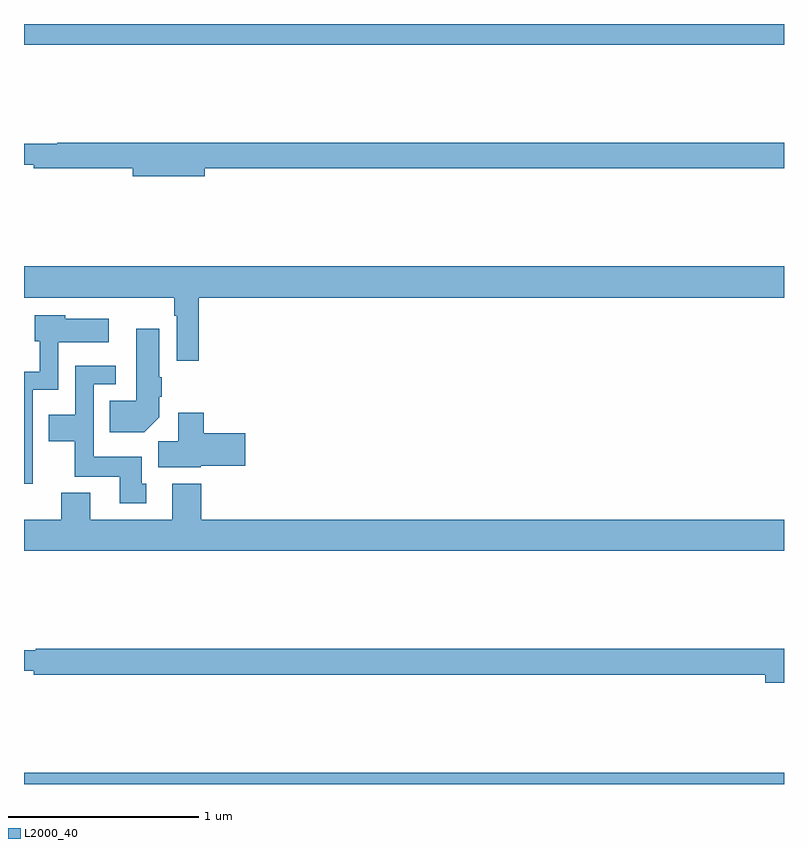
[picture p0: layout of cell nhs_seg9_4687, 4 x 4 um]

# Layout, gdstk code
import gdstk
lib = gdstk.Library(unit=1e-6, precision=1e-09)
def R(c, l, rs):  # rectangles x0, y0, x1, y1
    for r in rs: c.add(gdstk.rectangle(r[:2], r[2:], *l))
def P(c, l, *ps):  # polygons
    for p in ps: c.add(gdstk.Polygon(p, *l))
L2000_40 = (2000, 40)

nhs_seg9_4687 = lib.new_cell('nhs_seg9_4687')
R(nhs_seg9_4687, L2000_40, [(381,1220.5,385,1220.56), (381,1224.392,385,1224.5)])
P(nhs_seg9_4687, L2000_40, [(381.952,1223.74),(385,1223.74),(385,1223.876),(381.176,1223.876),(381.176,1223.869),(381,1223.869),(381,1223.759),(381.052,1223.759),(381.052,1223.74),(381.572,1223.74),(381.572,1223.698),(381.952,1223.698)],
  [(381.92,1223.06),(385,1223.06),(385,1223.224),(381,1223.224),(381,1223.06),(381.792,1223.06),(381.792,1222.964),(381.804,1222.964),(381.804,1222.728),(381.92,1222.728)],
  [(381.046,1222.574),(381.18,1222.574),(381.18,1222.826),(381.445,1222.826),(381.445,1222.948),(381.216,1222.948),(381.216,1222.966),(381.056,1222.966),(381.056,1222.83),(381.084,1222.83),(381.084,1222.671),(381,1222.671),(381,1222.08),(381.046,1222.08)],
  [(381.712,1222.43),(381.712,1222.537),(381.725,1222.537),(381.725,1222.64),(381.712,1222.64),(381.712,1222.897),(381.59,1222.897),(381.59,1222.516),(381.451,1222.516),(381.451,1222.352),(381.634,1222.352)],
  [(381.643,1222.08),(381.619,1222.08),(381.619,1222.222),(381.366,1222.222),(381.366,1222.605),(381.484,1222.605),(381.484,1222.701),(381.27,1222.701),(381.27,1222.444),(381.131,1222.444),(381.131,1222.304),(381.268,1222.304),(381.268,1222.118),(381.503,1222.118),(381.503,1221.978),(381.643,1221.978)],
  [(381.93,1222.175),(382.165,1222.175),(382.165,1222.346),(381.947,1222.346),(381.947,1222.453),(381.812,1222.453),(381.812,1222.304),(381.707,1222.304),(381.707,1222.166),(381.93,1222.166)],
  [(385,1221.892),(381.932,1221.892),(381.932,1222.081),(381.779,1222.081),(381.779,1221.892),(381.349,1221.892),(381.349,1222.033),(381.197,1222.033),(381.197,1221.892),(381,1221.892),(381,1221.728),(385,1221.728)],
  [(385,1221.212),(381.062,1221.212),(381.062,1221.205),(381,1221.205),(381,1221.095),(381.052,1221.095),(381.052,1221.076),(384.902,1221.076),(384.902,1221.034),(385,1221.034)])

lib.write_gds('nhs_seg9_4687.gds')
